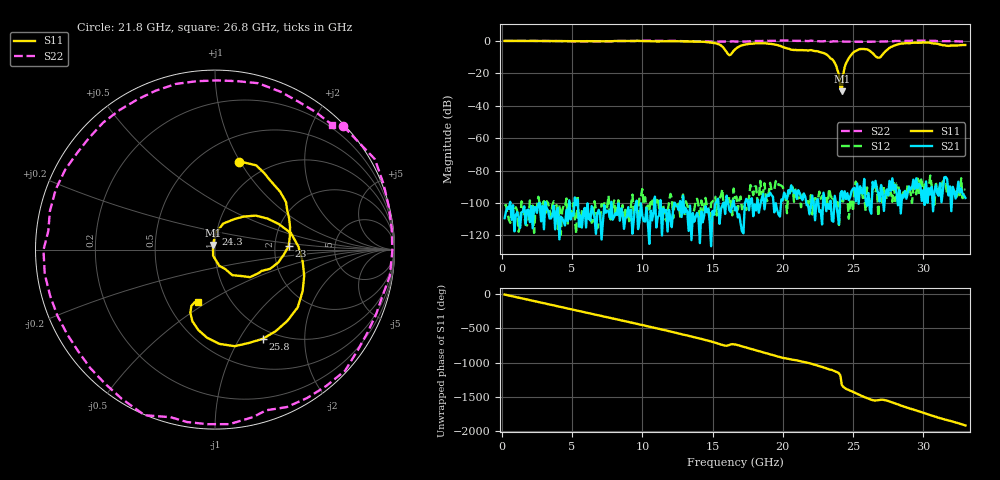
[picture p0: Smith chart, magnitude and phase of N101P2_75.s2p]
# GHZ S RI R 50
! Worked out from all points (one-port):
!   329 points, 200 MHz to 33 GHz, reference 50 ohm
!   lowest |S11| = -31.1 dB at 24.2 GHz (marker M1), VSWR 1.06, Z = 48.8 + j2.46 ohm
!   |S11| at or under -10 dB: 23.32 GHz to 24.75 GHz (1.425 GHz wide, 5.93 % of centre); 26.69 GHz to 26.93 GHz (242 MHz wide, 0.902 % of centre)
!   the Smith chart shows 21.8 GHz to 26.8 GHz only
!   S11 on the Smith chart (normalised r, x): 21.8 GHz: 0.75, +0.99; 23 GHz: 2.39, +0.11; 24.3 GHz: 0.99, +0.18; 25.8 GHz: 0.87, -1.27; 26.8 GHz: 0.70, -0.45
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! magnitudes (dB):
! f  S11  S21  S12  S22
! 200 MHz  0.0  -109.3  -101.7  0.0
! 5.7 GHz  -0.2  -115.1  -104.9  -0.2
! 11.2 GHz  -0.3  -107.7  -103.3  0.0
! 15.2 GHz  -1.4  -100.3  -96.1  -0.4
! 16.2 GHz  -8.8  -104.4  -96.0  -0.4
! 16.6 GHz  -5.3  -104.5  -96.7  -0.4
! 18.8 GHz  -1.5  -97.0  -96.6  0.1
! 21.8 GHz  -5.9  -101.4  -98.9  -0.1
! 22.1 GHz  -5.9  -95.3  -107.1  0.1
! 23 GHz  -7.7  -99.4  -101.1  -0.1
! 23.8 GHz  -15.3  -100.9  -102.2  -0.2
! 24 GHz  -20.6  -113.0  -113.5  0.0
! 24.1 GHz  -28.9  -94.2  -99.1  -0.2
! 24.2 GHz  -31.1  -92.6  -98.3  -0.3
! 24.3 GHz  -21.0  -97.8  -99.1  -0.4
! 24.5 GHz  -13.9  -97.4  -95.2  -0.5
! 24.8 GHz  -9.4  -96.2  -99.2  -0.4
! 25.8 GHz  -5.0  -85.1  -96.4  -0.5
! 26.8 GHz  -10.3  -94.0  -108.3  -0.4
! 27.6 GHz  -4.2  -86.3  -93.8  -0.2
! 29.4 GHz  -1.1  -91.2  -91.7  0.0
! 33 GHz  -2.5  -96.8  -91.7  -0.5
